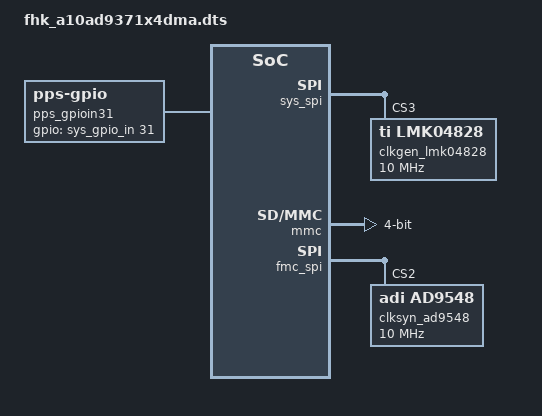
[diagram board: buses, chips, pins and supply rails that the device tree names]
/dts-v1/;
#include "socfpga_arria10_socdk.dtsi"
#include "i2c_dev_si5338.dtsi"
//#include "eth_altr_tse.dtsi" /* no TSE in this FPGA-design version */

&mmc {
	status = "okay";
	num-slots = <1>;
	cap-sd-highspeed;
	broken-cd;
	bus-width = <4>;
	altr,dw-mshc-ciu-div = <3>;
	altr,dw-mshc-sdr-timing = <0 3>;
};

/ {
	clocks {
		sys_clk: sys_clk {
			#clock-cells = <0>;
			compatible = "fixed-clock";
			clock-frequency = <100000000>;
			clock-output-names = "system_clock";
		};

		dma_clk: dma_clk {
			#clock-cells = <0x0>;
			compatible = "fixed-clock";
			clock-frequency = <250000000>;
			clock-output-names = "dma_clk";
		};
	};

	soc {
		sys_hps_bridges: bridge@ff200000 {
			compatible = "simple-bus";
			reg = <0xff200000 0x00200000>;
			#address-cells = <1>;
			#size-cells = <1>;
			ranges = <0x00000000 0xff200000 0x00200000>;

			sys_gpio_out: gpioctrl@20 {
				compatible = "altr,pio-1.0";
				reg = <0x00000020 0x00000010>;
				altr,gpio-bank-width = <32>;
				resetvalue = <0>;
				#gpio-cells = <2>;
				gpio-controller;
			};

			/* Documentation/devicetree/bindings/interrupt-controller/arm,gic.txt */
			/* Documentation/devicetree/bindings/gpio/gpio-altera.txt */
			sys_gpio_in: gpioctrl@0 {
				gpio-controller;
				reg = <0x00000000 0x10>;
				altr,gpio-bank-width = <32>;
				resetvalue = <0>;
				#gpio-cells = <2>;
				compatible = "altr,pio-1.0";

				/* gpioin31irq */
	   			interrupt-controller;
				gpios = <&sys_gpio_in 31 0>;
				/* irq-type irq-number low-to-high-edge */
				/* irq-number = 24(FPGA_IRQ_BASE) + specific irq vector */
	   			interrupts = <0 24 IRQ_TYPE_EDGE_RISING>;
	   			#interrupt-cells = <1>;
	   			altr,interrupt-type = <IRQ_TYPE_EDGE_RISING>;
			};

			/* Documentation/devicetree/bindings/pps/pps-gpio.txt  */
			pps_gpioin31: pps_gpio@31 {
				compatible = "pps-gpio";
				gpios = <&sys_gpio_in 31 0>;
				/* comment means assert is indicated by a rising edge */
				assert-rising-edge;
			};

			sys_spi: spi@40 {
				compatible = "altr,spi-1.0";
				reg = <0x00000040 0x00000020>;
				interrupt-parent = <&intc>;
				interrupts = <0 26 IRQ_TYPE_LEVEL_HIGH>;
				#address-cells = <0x1>;
				#size-cells = <0x0>;

				clkgen_lmk04828: clkgen@3 {
					#address-cells = <1>;
					#size-cells = <0>;
					//compatible = "spidev";
					compatible = "ti,lmk04828";

					reg = <3>;
					//spi-3wire; /* HW design is 4wire mode */
					spi-max-frequency = <10000000>;
				};
			};
		};
	};
};

#define fmc_spi sys_spi

&fmc_spi {
	clksyn_ad9548: clksyn@2 {
		#address-cells = <1>;
		#size-cells = <0>;
		//compatible = "spidev";
		compatible = "adi,ad9548";

		reg = <2>;
		//spi-3wire; /* HW design is 4wire mode */
		spi-max-frequency = <10000000>;
	};
};

#include "fhk_a10ad9528.dtsi"
#include "fhk_a10ad9371n1dma.dtsi"
#include "fhk_a10ad9371n2dma.dtsi"
#include "fhk_a10ad9371n3dma.dtsi"
#include "fhk_a10ad9371n4dma.dtsi"
